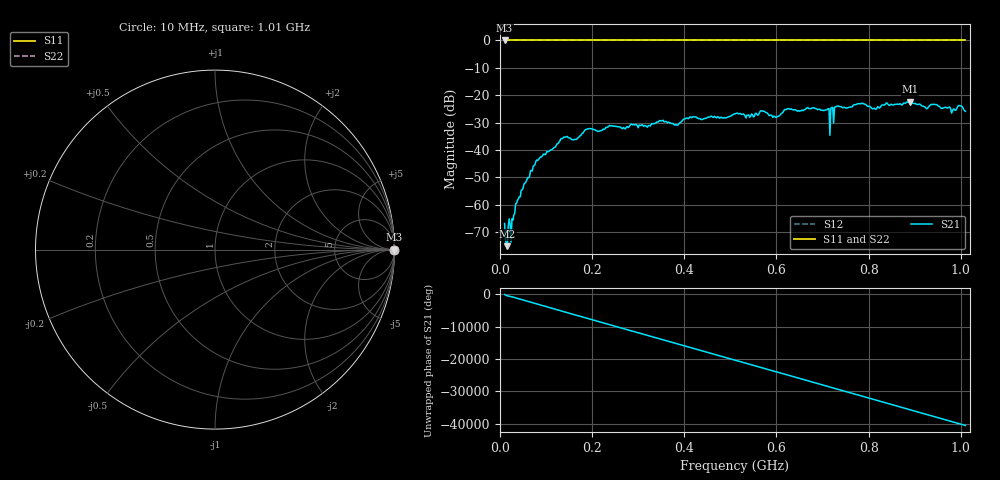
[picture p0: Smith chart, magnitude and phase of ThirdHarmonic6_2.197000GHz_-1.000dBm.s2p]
! 8/17/2025 2:11:30 AM
! C:\ANRITSUVNA\TEMP\TEMP.S2P
! CHANNEL.1
! TR.MEASUREMENT
! RAW.DATA
! RF.CORRECTION.OFF
! AVERAGING.OFF
! IF.BANDWIDTH: 5KHZ
! SWEEPTYPE:  FREQ.SWEEP(Linear)
! Reference Plane Port Info
! PORT:  PORT1  PORT2
! DISTANCE:  0  m  0  m
! TIME:  0  s  0  s
! PHASE.OFFSET:  0  deg.  0  deg.
! LOSS:  0  dB  0  dB
! REF.LOSS:  0  dB  0  dB
! REF.FREQ:  0  Hz  0  Hz
! Power Info
! POWER:  -20  dBm  -20  dBm
! EFF.POWER:  -20  dBm  -20  dBm
! SOURCE.ATTEN:  0  dB  0  dB
! TEST.ATTEN:  0  dB  0  dB
# GHZ S RI R 50.0
! FREQ.GHZ  S11RE  S11IM  S21RE  S21IM  S12RE  S12IM  S22RE  S22IM
!; PortSelection: Port_12
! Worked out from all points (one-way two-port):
!   501 points, 10 MHz to 1.01 GHz, reference 50 ohm
!   highest |S21| = -22.39 dB at 890 MHz (marker M1); lowest = -75.1 dB at 16 MHz (marker M2)
!   lowest |S11| = 0.0 dB at 10 MHz (marker M3)
!   |S11| at or under -10 dB: nowhere
!   |S22| runs from 0.0 to 0.0 dB; largest |S21 - S12| = 1.1
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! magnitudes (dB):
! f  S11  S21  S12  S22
! 10 MHz  0.0  -66.9  0.0  0.0
! 16 MHz  0.0  -75.1  0.0  0.0
! 28 MHz  0.0  -65.7  0.0  0.0
! 38 MHz  0.0  -58.3  0.0  0.0
! 76 MHz  0.0  -45.3  0.0  0.0
! 136 MHz  0.0  -35.8  0.0  0.0
! 162 MHz  0.0  -36.1  0.0  0.0
! 178 MHz  0.0  -34.0  0.0  0.0
! 344 MHz  0.0  -29.7  0.0  0.0
! 382 MHz  0.0  -30.8  0.0  0.0
! 416 MHz  0.0  -28.2  0.0  0.0
! 510 MHz  0.0  -26.8  0.0  0.0
! 570 MHz  0.0  -25.8  0.0  0.0
! 596 MHz  0.0  -27.7  0.0  0.0
! 622 MHz  0.0  -25.1  0.0  0.0
! 678 MHz  0.0  -24.7  0.0  0.0
! 710 MHz  0.0  -25.2  0.0  0.0
! 720 MHz  0.0  -24.5  0.0  0.0
! 730 MHz  0.0  -24.1  0.0  0.0
! 844 MHz  0.0  -23.7  0.0  0.0
! 890 MHz  0.0  -22.4  0.0  0.0
! 1.01 GHz  0.0  -25.9  0.0  0.0
